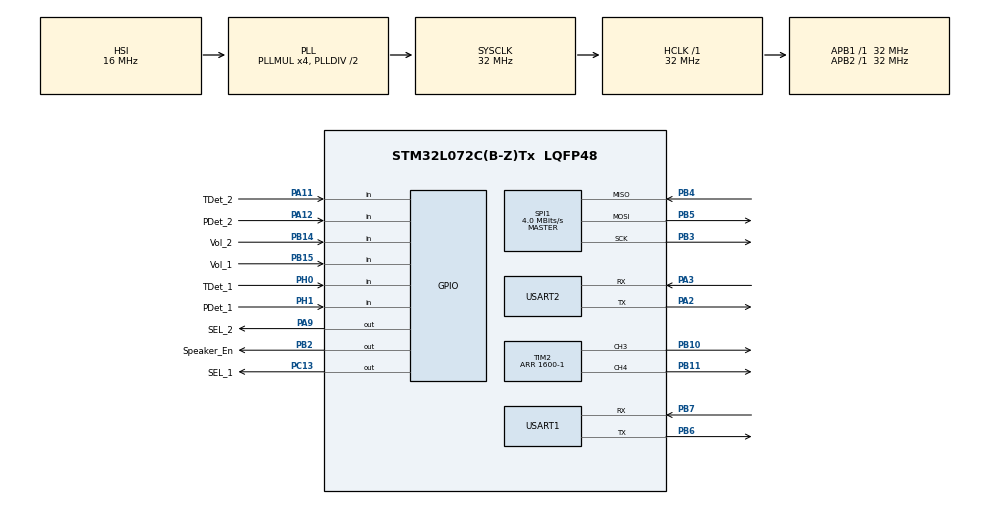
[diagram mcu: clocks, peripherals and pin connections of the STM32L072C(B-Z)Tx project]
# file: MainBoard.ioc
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Mcu.Family=STM32L0
Mcu.Name=STM32L072C(B-Z)Tx
Mcu.Package=LQFP48
NVIC.TIM2_IRQn=true\:0\:0\:false\:false\:true\:true\:true\:true
NVIC.TIM3_IRQn=true\:0\:0\:false\:false\:true\:true\:true\:true
PA11.GPIO_Label=TDet_2
PA11.Signal=GPIO_Input
PA12.GPIO_Label=PDet_2
PA12.Signal=GPIO_Input
PA2.Mode=Asynchronous
PA2.Signal=USART2_TX
PA3.Mode=Asynchronous
PA3.Signal=USART2_RX
PA9.GPIO_Label=SEL_2
PA9.Signal=GPIO_Output
PB10.Signal=S_TIM2_CH3
PB11.Signal=S_TIM2_CH4
PB14.GPIO_Label=Vol_2
PB14.Signal=GPIO_Input
PB15.GPIO_Label=Vol_1
PB15.Signal=GPIO_Input
PB2.GPIO_Label=Speaker_En
PB2.Signal=GPIO_Output
PB3.Mode=Full_Duplex_Master
PB3.Signal=SPI1_SCK
PB4.Mode=Full_Duplex_Master
PB4.Signal=SPI1_MISO
PB5.Mode=Full_Duplex_Master
PB5.Signal=SPI1_MOSI
PB6.Mode=Asynchronous
PB6.Signal=USART1_TX
PB7.Mode=Asynchronous
PB7.Signal=USART1_RX
PC13.GPIO_Label=SEL_1
PC13.Signal=GPIO_Output
PH0-OSC_IN.GPIO_Label=TDet_1
PH0-OSC_IN.Signal=GPIO_Input
PH1-OSC_OUT.GPIO_Label=PDet_1
PH1-OSC_OUT.Signal=GPIO_Input
ProjectManager.HeapSize=0x200
ProjectManager.StackSize=0x400
ProjectManager.TargetToolchain=STM32CubeIDE
RCC.AHBFreq_Value=32000000
RCC.APB1Freq_Value=32000000
RCC.APB1TimFreq_Value=32000000
RCC.APB2Freq_Value=32000000
RCC.APB2TimFreq_Value=32000000
RCC.HCLKFreq_Value=32000000
RCC.HSE_VALUE=8000000
RCC.HSI16_VALUE=16000000
RCC.HSI48_VALUE=48000000
RCC.HSI_VALUE=16000000
RCC.LSE_VALUE=32768
RCC.MSI_VALUE=2097000
RCC.PLLMUL=RCC_PLLMUL_4
RCC.SYSCLKFreq_VALUE=32000000
RCC.SYSCLKSource=RCC_SYSCLKSOURCE_PLLCLK
RCC.VCOOutputFreq_Value=64000000
SH.S_TIM2_CH3.0=TIM2_CH3,PWM Generation3 CH3
SH.S_TIM2_CH4.0=TIM2_CH4,PWM Generation4 CH4
SPI1.BaudRatePrescaler=SPI_BAUDRATEPRESCALER_8
SPI1.CalculateBaudRate=4.0 MBits/s
SPI1.Direction=SPI_DIRECTION_2LINES
SPI1.Mode=SPI_MODE_MASTER
SPI1.VirtualType=VM_MASTER
TIM2.AutoReloadPreload=TIM_AUTORELOAD_PRELOAD_ENABLE
TIM2.Channel-PWM\ Generation3\ CH3=TIM_CHANNEL_3
TIM2.Channel-PWM\ Generation4\ CH4=TIM_CHANNEL_4
TIM2.Period=1600-1
TIM3.Period=999
TIM3.Prescaler=31
USART1.VirtualMode-Asynchronous=VM_ASYNC
USART2.VirtualMode-Asynchronous=VM_ASYNC
VP_TIM2_VS_ClockSourceINT.Mode=Internal
VP_TIM3_VS_ClockSourceINT.Mode=Internal
board=custom

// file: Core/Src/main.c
/* USER CODE BEGIN Header */
/**
  ******************************************************************************
  * @file           : main.c
  * @brief          : Main program body
  ******************************************************************************
  * @attention
  *
  * Copyright (c) 2025 STMicroelectronics.
  * All rights reserved.
  *
  * This software is licensed under terms that can be found in the LICENSE file
  * in the root directory of this software component.
  * If no LICENSE file comes with this software, it is provided AS-IS.
  *
  ******************************************************************************
  */
/* USER CODE END Header */
#include "main.h"

/* USER CODE BEGIN Includes */
#include "fft.h"
#include "bgt60ltr11_spi.h"
#include <stdio.h>
#include <stdint.h>
#include <string.h>
#include <math.h>
/* USER CODE END Includes */

SPI_HandleTypeDef hspi1;

TIM_HandleTypeDef htim2;
TIM_HandleTypeDef htim3;

UART_HandleTypeDef huart1;
UART_HandleTypeDef huart2;

/* USER CODE BEGIN PV */
// Radar 1 data structures
uint16_t IFI_radar1 = 0;
uint16_t IFQ_radar1 = 0;
float32_t buffer1_radar1[2 * FFT_BUFFER_SIZE];
float32_t buffer2_radar1[2 * FFT_BUFFER_SIZE];
float32_t *active_buffer_radar1 = buffer1_radar1;
float32_t *processing_buffer_radar1 = buffer2_radar1;
uint16_t acquired_sample_count_radar1 = 0;
uint8_t data_ready_f_radar1 = 0;
float32_t peak_index_radar1 = 0.0f;
float32_t max_value_radar1 = 0.0f;
float32_t target_velocity_radar1 = 0.0f;

// Radar 2 data structures
uint16_t IFI_radar2 = 0;
uint16_t IFQ_radar2 = 0;
float32_t buffer1_radar2[2 * FFT_BUFFER_SIZE];
float32_t buffer2_radar2[2 * FFT_BUFFER_SIZE];
float32_t *active_buffer_radar2 = buffer1_radar2;
float32_t *processing_buffer_radar2 = buffer2_radar2;
uint16_t acquired_sample_count_radar2 = 0;
uint8_t data_ready_f_radar2 = 0;
float32_t peak_index_radar2 = 0.0f;
float32_t max_value_radar2 = 0.0f;
float32_t target_velocity_radar2 = 0.0f;

// Shared variables
uint8_t radar1_initialized = 0;
uint8_t radar2_initialized = 0;
uint32_t error_cnt = 0;

#define VELOCITY_BUFFER_SIZE 3
float32_t velocity_buffer_radar1[VELOCITY_BUFFER_SIZE];
uint8_t velocity_buffer_index_radar1 = 0;
uint8_t velocity_buffer_filled_radar1 = 0;
float32_t velocity_average_radar1 = 0.0f;

float32_t velocity_buffer_radar2[VELOCITY_BUFFER_SIZE];
uint8_t velocity_buffer_index_radar2 = 0;
uint8_t velocity_buffer_filled_radar2 = 0;
float32_t velocity_average_radar2 = 0.0f;

#define RADAR1_CS_PORT GPIOC
#define RADAR1_CS_PIN  GPIO_PIN_13
#define RADAR2_CS_PORT GPIOA
#define RADAR2_CS_PIN  GPIO_PIN_9
#define Speaker_En_GPIO_Port GPIOB
#define Speaker_En_Pin GPIO_PIN_2
#define VOL_UP_PIN   Vol_1_Pin
#define VOL_DOWN_PIN Vol_2_Pin

#define MIN_FREQ 50
#define MAX_FREQ 2000
#define PWM_FREQ 20000
#define SINE_STEPS 32  // Number of steps in our sine lookup table

// Sine lookup table (32 values for one complete sine wave cycle)
// Values are scaled to fit PWM range (0-1600)
const uint16_t sine_table[SINE_STEPS] = {
    800,
    991,
    1175,
    1345,
    1491,
    1608,
    1688,
    1727,
    1727,
    1688,
    1608,
    1491,
    1345,
    1175,
    991,
    800,
    608,
    417,
    233,
    63,
    0,
    0,
    0,
    0,
    0,
    0,
    0,
    63,
    233,
    417,
    608,
    800
};

uint8_t sine_index = 0;        // Current position in sine table
int step_counter = 0;          // Counter for timing sine wave steps
int steps_per_cycle = 0;       // How many timer ticks between sine table updates
int update_counter = 0;        // Counter for frequency updates

volatile uint8_t volume_percent = 50;
/* USER CODE END PV */

void SystemClock_Config(void);
static void MX_GPIO_Init(void);
static void MX_SPI1_Init(void);
static void MX_USART2_UART_Init(void);
static void MX_USART1_UART_Init(void);
static void MX_TIM3_Init(void);
static void MX_TIM2_Init(void);

/* USER CODE BEGIN 0 */
#ifdef __GNUC__
#define PUTCHAR_PROTOTYPE int __io_putchar(int ch)
#else
#define PUTCHAR_PROTOTYPE int fputc(int ch, FILE *f)
#endif

PUTCHAR_PROTOTYPE
{
  HAL_UART_Transmit(&huart1, (uint8_t *)&ch, 1, HAL_MAX_DELAY);
  return ch;
}

/* USER CODE END 0 */

int main(void)
{

  /* USER CODE BEGIN 1 */
	//TEST
  /* USER CODE END 1 */

  /* MCU Configuration--------------------------------------------------------*/

  /* Reset of all peripherals, Initializes the Flash interface and the Systick. */
  HAL_Init();

  /* Configure the system clock */
  SystemClock_Config();

  /* Initialize all configured peripherals */
  MX_GPIO_Init();
  MX_SPI1_Init();
  MX_USART2_UART_Init();
  MX_USART1_UART_Init();
  MX_TIM3_Init();
  MX_TIM2_Init();
  /* USER CODE BEGIN 2 */

  HAL_GPIO_WritePin(Speaker_En_GPIO_Port, Speaker_En_Pin, GPIO_PIN_SET);   // Enable the speaker

  // Initialize CS pins
  HAL_GPIO_WritePin(RADAR1_CS_PORT, RADAR1_CS_PIN, GPIO_PIN_SET);   // Radar 1 CS high
  HAL_GPIO_WritePin(RADAR2_CS_PORT, RADAR2_CS_PIN, GPIO_PIN_SET);  // Radar 2 CS high

  // Initialize Radar 1
  bgt60ltr11_HW_reset(RADAR_1);
  HAL_Delay(100);  // Wait for radar to stabilize
  if (bgt60ltr11_pulsed_mode_init_extended_range(RADAR_1) != HAL_OK) {
      Error_Handler();
  }

  // Initialize Radar 2
  bgt60ltr11_HW_reset(RADAR_2);
  HAL_Delay(100);  // Wait for radar to stabilize
  if (bgt60ltr11_pulsed_mode_init_extended_range(RADAR_2) != HAL_OK) {
      Error_Handler();
  }

  HAL_Delay(1000);
  HAL_TIM_Base_Start_IT(&htim3);

  // Radars successfully initialized
  radar1_initialized = 1;
  radar2_initialized = 1;

  for (uint8_t i = 0; i < VELOCITY_BUFFER_SIZE; i++) {
	  velocity_buffer_radar1[i] = 0.0f;
	  velocity_buffer_radar2[i] = 0.0f;
  }

  __HAL_TIM_SET_COMPARE(&htim2, TIM_CHANNEL_3, sine_table[0]);
  __HAL_TIM_SET_COMPARE(&htim2, TIM_CHANNEL_4, sine_table[0]);

  HAL_TIM_PWM_Start(&htim2, TIM_CHANNEL_3);  // Speaker 1 (PB10)
  HAL_TIM_PWM_Start(&htim2, TIM_CHANNEL_4);  // Speaker 2 (PB11)
  HAL_TIM_Base_Start_IT(&htim2);  // For square wave generation

  /* USER CODE END 2 */

  /* Infinite loop */
  /* USER CODE BEGIN WHILE */
  while (1)
  {
	  // Process Radar 1 data when ready
	  if (radar1_initialized && data_ready_f_radar1) {
		  fft256_spectrum(processing_buffer_radar1);

		  //visualize_129_frequencies(processing_buffer_radar1, 129, 1);

		  find_peak_frequency(processing_buffer_radar1, FFT_BUFFER_SIZE, 1000, &peak_index_radar1, &max_value_radar1, &target_velocity_radar1);
		  printf("Radar 1 - velocity: %.5f m/s\t", target_velocity_radar1);
		  //printf("peak1: %0.5f", peak_index_radar1);
		  data_ready_f_radar1 = 0;
	  } else {
		  //printf("%-35s", "");
	  }

	  // Process Radar 2 data when ready
	  if (radar2_initialized && data_ready_f_radar2) {
		  fft256_spectrum(processing_buffer_radar2);
		  find_peak_frequency(processing_buffer_radar2, FFT_BUFFER_SIZE, 1000, &peak_index_radar2, &max_value_radar2, &target_velocity_radar2);
		  printf("Radar 2 - velocity: %.5f m/s", target_velocity_radar2);
		  //printf("peak2: %0.5f", peak_index_radar2);
		  data_ready_f_radar2 = 0;
	  } else {
		  printf("\r\n");
	  }
	  printf("\r\n");

	  HAL_Delay(10);

	  if (HAL_GPIO_ReadPin(GPIOB, VOL_UP_PIN) == GPIO_PIN_SET) {
	    if (volume_percent < 100){
	    	volume_percent += 10;
	    }
	    HAL_Delay(5);
	  }
	  if (HAL_GPIO_ReadPin(GPIOB, VOL_DOWN_PIN) == GPIO_PIN_SET) {
	    if (volume_percent > 0) {
	    	volume_percent -= 10;
	    }
	    HAL_Delay(5);
	  }

    /* USER CODE END WHILE */

  }
}

void SystemClock_Config(void)
{
  RCC_OscInitTypeDef RCC_OscInitStruct = {0};
  RCC_ClkInitTypeDef RCC_ClkInitStruct = {0};
  RCC_PeriphCLKInitTypeDef PeriphClkInit = {0};

  /** Configure the main internal regulator output voltage
  */
  __HAL_PWR_VOLTAGESCALING_CONFIG(PWR_REGULATOR_VOLTAGE_SCALE1);

  /** Initializes the RCC Oscillators according to the specified parameters
  * in the RCC_OscInitTypeDef structure.
  */
  RCC_OscInitStruct.OscillatorType = RCC_OSCILLATORTYPE_HSI;
  RCC_OscInitStruct.HSIState = RCC_HSI_ON;
  RCC_OscInitStruct.HSICalibrationValue = RCC_HSICALIBRATION_DEFAULT;
  RCC_OscInitStruct.PLL.PLLState = RCC_PLL_ON;
  RCC_OscInitStruct.PLL.PLLSource = RCC_PLLSOURCE_HSI;
  RCC_OscInitStruct.PLL.PLLMUL = RCC_PLLMUL_4;
  RCC_OscInitStruct.PLL.PLLDIV = RCC_PLLDIV_2;
  if (HAL_RCC_OscConfig(&RCC_OscInitStruct) != HAL_OK)
  {
    Error_Handler();
  }

  /** Initializes the CPU, AHB and APB buses clocks
  */
  RCC_ClkInitStruct.ClockType = RCC_CLOCKTYPE_HCLK|RCC_CLOCKTYPE_SYSCLK
                              |RCC_CLOCKTYPE_PCLK1|RCC_CLOCKTYPE_PCLK2;
  RCC_ClkInitStruct.SYSCLKSource = RCC_SYSCLKSOURCE_PLLCLK;
  RCC_ClkInitStruct.AHBCLKDivider = RCC_SYSCLK_DIV1;
  RCC_ClkInitStruct.APB1CLKDivider = RCC_HCLK_DIV1;
  RCC_ClkInitStruct.APB2CLKDivider = RCC_HCLK_DIV1;

  if (HAL_RCC_ClockConfig(&RCC_ClkInitStruct, FLASH_LATENCY_1) != HAL_OK)
  {
    Error_Handler();
  }
  PeriphClkInit.PeriphClockSelection = RCC_PERIPHCLK_USART1|RCC_PERIPHCLK_USART2;
  PeriphClkInit.Usart1ClockSelection = RCC_USART1CLKSOURCE_PCLK2;
  PeriphClkInit.Usart2ClockSelection = RCC_USART2CLKSOURCE_PCLK1;
  if (HAL_RCCEx_PeriphCLKConfig(&PeriphClkInit) != HAL_OK)
  {
    Error_Handler();
  }
}

static void MX_SPI1_Init(void)
{

  /* SPI1 parameter configuration*/
  hspi1.Instance = SPI1;
  hspi1.Init.Mode = SPI_MODE_MASTER;
  hspi1.Init.Direction = SPI_DIRECTION_2LINES;
  hspi1.Init.DataSize = SPI_DATASIZE_8BIT;
  hspi1.Init.CLKPolarity = SPI_POLARITY_LOW;
  hspi1.Init.CLKPhase = SPI_PHASE_1EDGE;
  hspi1.Init.NSS = SPI_NSS_SOFT;
  hspi1.Init.BaudRatePrescaler = SPI_BAUDRATEPRESCALER_8;
  hspi1.Init.FirstBit = SPI_FIRSTBIT_MSB;
  hspi1.Init.TIMode = SPI_TIMODE_DISABLE;
  hspi1.Init.CRCCalculation = SPI_CRCCALCULATION_DISABLE;
  hspi1.Init.CRCPolynomial = 7;
  if (HAL_SPI_Init(&hspi1) != HAL_OK)
  {
    Error_Handler();
  }

}

static void MX_TIM2_Init(void)
{

  TIM_ClockConfigTypeDef sClockSourceConfig = {0};
  TIM_MasterConfigTypeDef sMasterConfig = {0};
  TIM_OC_InitTypeDef sConfigOC = {0};

  htim2.Instance = TIM2;
  htim2.Init.Prescaler = 0;
  htim2.Init.CounterMode = TIM_COUNTERMODE_UP;
  htim2.Init.Period = 1600-1;
  htim2.Init.ClockDivision = TIM_CLOCKDIVISION_DIV1;
  htim2.Init.AutoReloadPreload = TIM_AUTORELOAD_PRELOAD_ENABLE;
  if (HAL_TIM_Base_Init(&htim2) != HAL_OK)
  {
    Error_Handler();
  }
  sClockSourceConfig.ClockSource = TIM_CLOCKSOURCE_INTERNAL;
  if (HAL_TIM_ConfigClockSource(&htim2, &sClockSourceConfig) != HAL_OK)
  {
    Error_Handler();
  }
  if (HAL_TIM_PWM_Init(&htim2) != HAL_OK)
  {
    Error_Handler();
  }
  sMasterConfig.MasterOutputTrigger = TIM_TRGO_RESET;
  sMasterConfig.MasterSlaveMode = TIM_MASTERSLAVEMODE_DISABLE;
  if (HAL_TIMEx_MasterConfigSynchronization(&htim2, &sMasterConfig) != HAL_OK)
  {
    Error_Handler();
  }
  sConfigOC.OCMode = TIM_OCMODE_PWM1;
  sConfigOC.Pulse = 0;
  sConfigOC.OCPolarity = TIM_OCPOLARITY_HIGH;
  sConfigOC.OCFastMode = TIM_OCFAST_DISABLE;
  if (HAL_TIM_PWM_ConfigChannel(&htim2, &sConfigOC, TIM_CHANNEL_3) != HAL_OK)
  {
    Error_Handler();
  }
  if (HAL_TIM_PWM_ConfigChannel(&htim2, &sConfigOC, TIM_CHANNEL_4) != HAL_OK)
  {
    Error_Handler();
  }
  HAL_TIM_MspPostInit(&htim2);

}

static void MX_TIM3_Init(void)
{

  TIM_ClockConfigTypeDef sClockSourceConfig = {0};
  TIM_MasterConfigTypeDef sMasterConfig = {0};

  htim3.Instance = TIM3;
  htim3.Init.Prescaler = 31;
  htim3.Init.CounterMode = TIM_COUNTERMODE_UP;
  htim3.Init.Period = 999;
  htim3.Init.ClockDivision = TIM_CLOCKDIVISION_DIV1;
  htim3.Init.AutoReloadPreload = TIM_AUTORELOAD_PRELOAD_DISABLE;
  if (HAL_TIM_Base_Init(&htim3) != HAL_OK)
  {
    Error_Handler();
  }
  sClockSourceConfig.ClockSource = TIM_CLOCKSOURCE_INTERNAL;
  if (HAL_TIM_ConfigClockSource(&htim3, &sClockSourceConfig) != HAL_OK)
  {
    Error_Handler();
  }
  sMasterConfig.MasterOutputTrigger = TIM_TRGO_RESET;
  sMasterConfig.MasterSlaveMode = TIM_MASTERSLAVEMODE_DISABLE;
  if (HAL_TIMEx_MasterConfigSynchronization(&htim3, &sMasterConfig) != HAL_OK)
  {
    Error_Handler();
  }

}

static void MX_USART1_UART_Init(void)
{

  huart1.Instance = USART1;
  huart1.Init.BaudRate = 115200;
  huart1.Init.WordLength = UART_WORDLENGTH_8B;
  huart1.Init.StopBits = UART_STOPBITS_1;
  huart1.Init.Parity = UART_PARITY_NONE;
  huart1.Init.Mode = UART_MODE_TX_RX;
  huart1.Init.HwFlowCtl = UART_HWCONTROL_NONE;
  huart1.Init.OverSampling = UART_OVERSAMPLING_16;
  huart1.Init.OneBitSampling = UART_ONE_BIT_SAMPLE_DISABLE;
  huart1.AdvancedInit.AdvFeatureInit = UART_ADVFEATURE_NO_INIT;
  if (HAL_UART_Init(&huart1) != HAL_OK)
  {
    Error_Handler();
  }

}

static void MX_USART2_UART_Init(void)
{

  huart2.Instance = USART2;
  huart2.Init.BaudRate = 115200;
  huart2.Init.WordLength = UART_WORDLENGTH_8B;
  huart2.Init.StopBits = UART_STOPBITS_1;
  huart2.Init.Parity = UART_PARITY_NONE;
  huart2.Init.Mode = UART_MODE_TX_RX;
  huart2.Init.HwFlowCtl = UART_HWCONTROL_NONE;
  huart2.Init.OverSampling = UART_OVERSAMPLING_16;
  huart2.Init.OneBitSampling = UART_ONE_BIT_SAMPLE_DISABLE;
  huart2.AdvancedInit.AdvFeatureInit = UART_ADVFEATURE_NO_INIT;
  if (HAL_UART_Init(&huart2) != HAL_OK)
  {
    Error_Handler();
  }

}

static void MX_GPIO_Init(void)
{
  GPIO_InitTypeDef GPIO_InitStruct = {0};

  /* GPIO Ports Clock Enable */
  __HAL_RCC_GPIOC_CLK_ENABLE();
  __HAL_RCC_GPIOH_CLK_ENABLE();
  __HAL_RCC_GPIOA_CLK_ENABLE();
  __HAL_RCC_GPIOB_CLK_ENABLE();

  /*Configure GPIO pin Output Level */
  HAL_GPIO_WritePin(SEL_1_GPIO_Port, SEL_1_Pin, GPIO_PIN_RESET);

  /*Configure GPIO pin Output Level */
  HAL_GPIO_WritePin(Speaker_En_GPIO_Port, Speaker_En_Pin, GPIO_PIN_RESET);

  /*Configure GPIO pin Output Level */
  HAL_GPIO_WritePin(SEL_2_GPIO_Port, SEL_2_Pin, GPIO_PIN_RESET);

  /*Configure GPIO pin : SEL_1_Pin */
  GPIO_InitStruct.Pin = SEL_1_Pin;
  GPIO_InitStruct.Mode = GPIO_MODE_OUTPUT_PP;
  GPIO_InitStruct.Pull = GPIO_NOPULL;
  GPIO_InitStruct.Speed = GPIO_SPEED_FREQ_LOW;
  HAL_GPIO_Init(SEL_1_GPIO_Port, &GPIO_InitStruct);

  /*Configure GPIO pins : TDet_1_Pin PDet_1_Pin */
  GPIO_InitStruct.Pin = TDet_1_Pin|PDet_1_Pin;
  GPIO_InitStruct.Mode = GPIO_MODE_INPUT;
  GPIO_InitStruct.Pull = GPIO_NOPULL;
  HAL_GPIO_Init(GPIOH, &GPIO_InitStruct);

  /*Configure GPIO pin : Speaker_En_Pin */
  GPIO_InitStruct.Pin = Speaker_En_Pin;
  GPIO_InitStruct.Mode = GPIO_MODE_OUTPUT_PP;
  GPIO_InitStruct.Pull = GPIO_NOPULL;
  GPIO_InitStruct.Speed = GPIO_SPEED_FREQ_LOW;
  HAL_GPIO_Init(Speaker_En_GPIO_Port, &GPIO_InitStruct);

  /*Configure GPIO pins : Vol_2_Pin Vol_1_Pin */
  GPIO_InitStruct.Pin = Vol_2_Pin|Vol_1_Pin;
  GPIO_InitStruct.Mode = GPIO_MODE_INPUT;
  GPIO_InitStruct.Pull = GPIO_NOPULL;
  HAL_GPIO_Init(GPIOB, &GPIO_InitStruct);

  /*Configure GPIO pin : SEL_2_Pin */
  GPIO_InitStruct.Pin = SEL_2_Pin;
  GPIO_InitStruct.Mode = GPIO_MODE_OUTPUT_PP;
  GPIO_InitStruct.Pull = GPIO_NOPULL;
  GPIO_InitStruct.Speed = GPIO_SPEED_FREQ_LOW;
  HAL_GPIO_Init(SEL_2_GPIO_Port, &GPIO_InitStruct);

  /*Configure GPIO pins : TDet_2_Pin PDet_2_Pin */
  GPIO_InitStruct.Pin = TDet_2_Pin|PDet_2_Pin;
  GPIO_InitStruct.Mode = GPIO_MODE_INPUT;
  GPIO_InitStruct.Pull = GPIO_NOPULL;
  HAL_GPIO_Init(GPIOA, &GPIO_InitStruct);

}

/* USER CODE BEGIN 4 */
void HAL_TIM_PeriodElapsedCallback(TIM_HandleTypeDef *htim) {
    if (htim == &htim3) {
        // Process both radars in the same interrupt

        // Process Radar 1
        if (acquired_sample_count_radar1 < FFT_BUFFER_SIZE) {
            if (bgt60ltr11_get_RAW_data(RADAR_1, &IFI_radar1, &IFQ_radar1) == HAL_OK) {
                if (IFI_radar1 <= 0x3FC && IFQ_radar1 <= 0x3FC) {
                    active_buffer_radar1[2 * acquired_sample_count_radar1] = (float32_t)(IFI_radar1 >> 2) / 255.0f;
                    active_buffer_radar1[2 * acquired_sample_count_radar1 + 1] = (float32_t)(IFQ_radar1 >> 2) / 255.0f;
                    acquired_sample_count_radar1++;
                }
            } else {
                error_cnt++;
            }
        } else {
            // Buffer full, swap buffers
            float32_t *temp = active_buffer_radar1;
            active_buffer_radar1 = processing_buffer_radar1;
            processing_buffer_radar1 = temp;
            data_ready_f_radar1 = 1;
            acquired_sample_count_radar1 = 0;
        }

        // Process Radar 2
        if (acquired_sample_count_radar2 < FFT_BUFFER_SIZE) {
            if (bgt60ltr11_get_RAW_data(RADAR_2, &IFI_radar2, &IFQ_radar2) == HAL_OK) {
                if (IFI_radar2 <= 0x3FC && IFQ_radar2 <= 0x3FC) {
                    active_buffer_radar2[2 * acquired_sample_count_radar2] = (float32_t)(IFI_radar2 >> 2) / 255.0f;
                    active_buffer_radar2[2 * acquired_sample_count_radar2 + 1] = (float32_t)(IFQ_radar2 >> 2) / 255.0f;
                    acquired_sample_count_radar2++;
                }
            } else {
                error_cnt++;
            }
        } else {
            // Buffer full, swap buffers
            float32_t *temp = active_buffer_radar2;
            active_buffer_radar2 = processing_buffer_radar2;
            processing_buffer_radar2 = temp;
            data_ready_f_radar2 = 1;
            acquired_sample_count_radar2 = 0;
        }
    } else if(htim == &htim2){

        bool det1 = (GPIOH->IDR & PDet_1_Pin) != 0;
        bool det2 = (GPIOA->IDR & PDet_2_Pin) != 0;

        // if neither radar sees motion, mute both channels immediately
        // This works!
        if (!det1 && !det2) {
            TIM2->CCR3 = 0;
            TIM2->CCR4 = 0;
            return;
        }

    	// every interrupt (clk/1600) it increases step
    	step_counter++;

    	if (step_counter >= steps_per_cycle) {
    		// if step is steps_per_cycle, Moves to the next position in the sine wave table
			step_counter = 0;

			sine_index = (sine_index + 1) % SINE_STEPS;

		}

    	uint16_t raw   = sine_table[sine_index];
    	uint16_t amp   = (raw * volume_percent) / 100;
    	TIM2->CCR3 = det1 ? amp : 0;
    	TIM2->CCR4 = det2 ? amp : 0;

		update_counter++;
		// Every 2000 interrupts:
		// Reads the latest peak frequency from radar processing
		// Recalculates steps_per_cycle to set the audio tone frequency

		if (update_counter >= 2000) {
			update_counter = 0;

			int freq = MIN_FREQ;  // Default to minimum frequency
			if (target_velocity_radar1 != 0.0f || target_velocity_radar2 != 0.0f) {

				int freq1 = (target_velocity_radar1 != 0.0f) ? (int)peak_index_radar1 : 0;
				int freq2 = (target_velocity_radar2 != 0.0f) ? (int)peak_index_radar2 : 0;

				freq = (freq1 > freq2) ? freq1 : freq2;
				if (freq < MIN_FREQ) freq = MIN_FREQ;
				if (freq > MAX_FREQ) freq = MAX_FREQ;
			}

			steps_per_cycle = PWM_FREQ / (freq * SINE_STEPS);
			if (steps_per_cycle < 1) steps_per_cycle = 1;
		}
    }
}

void sendDataToMonitor(float32_t vel) {
	printf("DATA,%.5f\n", vel);
}

/* USER CODE END 4 */

void Error_Handler(void)
{
  __disable_irq();
  while (1)
  {
  }
}
